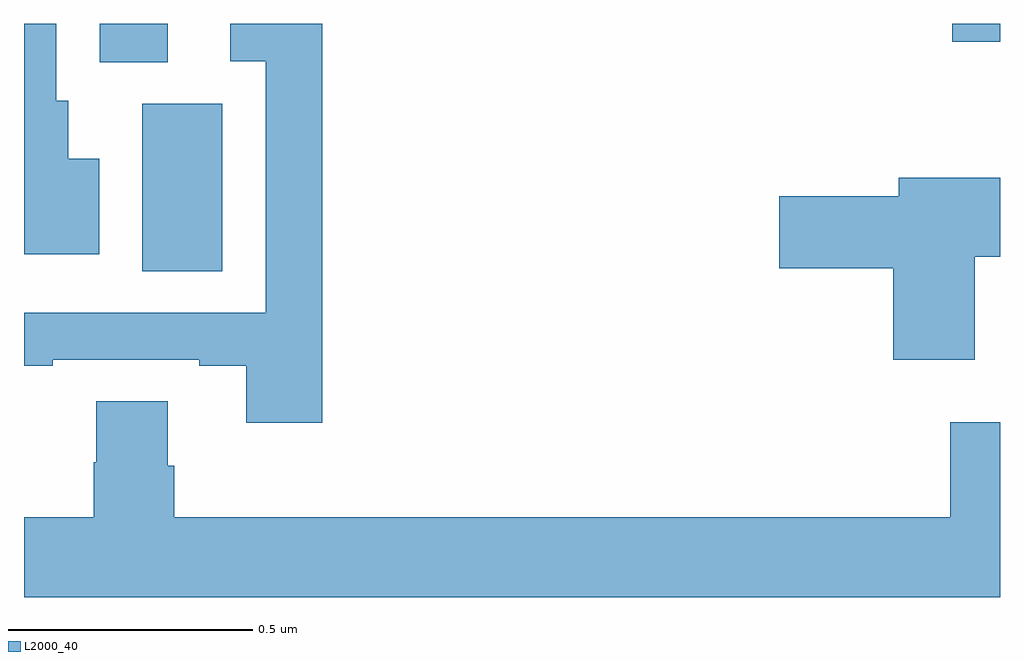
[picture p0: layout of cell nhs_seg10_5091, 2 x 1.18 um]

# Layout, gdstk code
import gdstk
lib = gdstk.Library(unit=1e-6, precision=1e-09)
def R(c, l, rs):  # rectangles x0, y0, x1, y1
    for r in rs: c.add(gdstk.rectangle(r[:2], r[2:], *l))
def P(c, l, *ps):  # polygons
    for p in ps: c.add(gdstk.Polygon(p, *l))
L2000_40 = (2000, 40)

nhs_seg10_5091 = lib.new_cell('nhs_seg10_5091')
R(nhs_seg10_5091, L2000_40, [(174.242,1292.992,174.406,1293.336), (174.155,1293.421,174.295,1293.5), (175.902,1293.463,176,1293.5)])
P(nhs_seg10_5091, L2000_40, [(174.154,1293.223),(174.091,1293.223),(174.091,1293.342),(174.066,1293.342),(174.066,1293.5),(174,1293.5),(174,1293.027),(174.154,1293.027)],
  [(174.611,1293.5),(174.423,1293.5),(174.423,1293.423),(174.495,1293.423),(174.495,1292.907),(174,1292.907),(174,1292.799),(174.059,1292.799),(174.059,1292.811),(174.359,1292.811),(174.359,1292.799),(174.455,1292.799),(174.455,1292.682),(174.611,1292.682)],
  [(175.948,1293.022),(176,1293.022),(176,1293.184),(175.793,1293.184),(175.793,1293.146),(175.548,1293.146),(175.548,1292.999),(175.781,1292.999),(175.781,1292.811),(175.948,1292.811)],
  [(176,1292.683),(175.898,1292.683),(175.898,1292.488),(174.308,1292.488),(174.308,1292.594),(174.295,1292.594),(174.295,1292.726),(174.148,1292.726),(174.148,1292.601),(174.143,1292.601),(174.143,1292.488),(174,1292.488),(174,1292.324),(176,1292.324)])

lib.write_gds('nhs_seg10_5091.gds')
